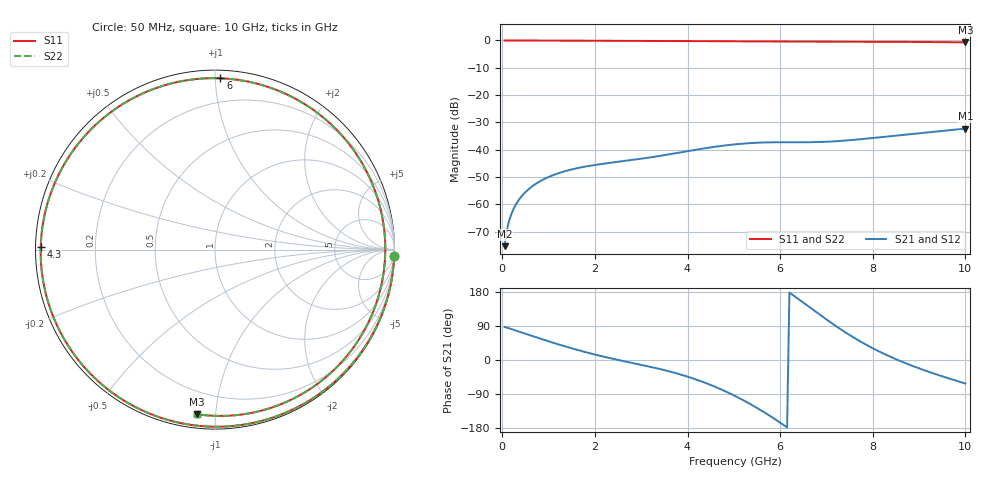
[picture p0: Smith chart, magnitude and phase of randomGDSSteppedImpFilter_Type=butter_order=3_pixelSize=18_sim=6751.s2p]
! freq	dB(S11)	phase(S11)	dB(S12)	phase(S12)
!  dB(S21)	phase(S21)	dB(S22)	phase(S22)
!S-par simulation data
#  GHz  S  DB  R 50
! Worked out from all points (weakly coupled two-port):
!   200 points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, 50 MHz to 10 GHz, reference 50 ohm
!   highest |S21| = -32.24 dB at 10 GHz (marker M1); lowest = -75.3 dB at 50 MHz (marker M2)
!   lowest |S11| = -0.7 dB at 10 GHz (marker M3), VSWR 24.85, Z = 3.62 - j44.7 ohm
!   |S11| at or under -10 dB: nowhere
!   |S22| runs from -0.7 to 0.0 dB; largest |S21 - S12| = 0
!   S11 on the Smith chart (normalised r, x): 50 MHz: 1, -54; 4.3 GHz: 0.01, +0.01; 6 GHz: 0.05, +1.03; 10 GHz: 0.07, -0.89
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0.05  -0.01 -2.1  -75.26 87.4  -75.26 87.4  -0.01 -2.1
0.1  -0.01 -4.2  -69.29 85.5  -69.29 85.5  -0.01 -4.2
0.2  -0.01 -8.4  -63.31 81.5  -63.31 81.5  -0.01 -8.4
0.5  -0.02 -21.0  -55.49 69.3  -55.49 69.3  -0.02 -21.0
1  -0.05 -41.7  -49.95 49.3  -49.95 49.3  -0.05 -41.7
1.75  -0.09 -72.5  -46.27 22.3  -46.27 22.3  -0.09 -72.5
2.55  -0.13 -105.1  -44.29 -1.1  -44.29 -1.1  -0.13 -105.1
3.4  -0.19 -140.6  -42.24 -23.7  -42.24 -23.7  -0.19 -140.7
3.85  -0.22 -160.3  -40.94 -38.3  -40.94 -38.3  -0.22 -160.4
4.3  -0.25 179.0  -39.65 -56.5  -39.65 -56.5  -0.26 178.8
4.7  -0.29 159.5  -38.65 -76.2  -38.65 -76.2  -0.29 159.3
5.05  -0.32 141.4  -37.97 -96.4  -37.97 -96.4  -0.32 141.2
5.55  -0.37 114.1  -37.39 -130.1  -37.39 -130.1  -0.37 113.8
6  -0.40 88.2  -37.24 -165.2  -37.24 -165.2  -0.40 87.8
6.35  -0.42 67.7  -37.25 164.8  -37.25 164.8  -0.42 67.3
6.7  -0.43 47.3  -37.21 133.5  -37.21 133.5  -0.43 46.9
7.1  -0.44 24.7  -36.98 98.3  -36.98 98.3  -0.44 24.2
7.45  -0.45 5.9  -36.57 69.7  -36.57 69.7  -0.45 5.5
7.85  -0.47 -14.1  -35.95 40.8  -35.95 40.8  -0.47 -14.4
8.35  -0.50 -36.7  -35.09 10.2  -35.09 10.2  -0.50 -37.0
9.15  -0.57 -68.0  -33.72 -28.6  -33.72 -28.6  -0.57 -68.2
10  -0.70 -96.3  -32.24 -62.1  -32.24 -62.1  -0.70 -96.4
